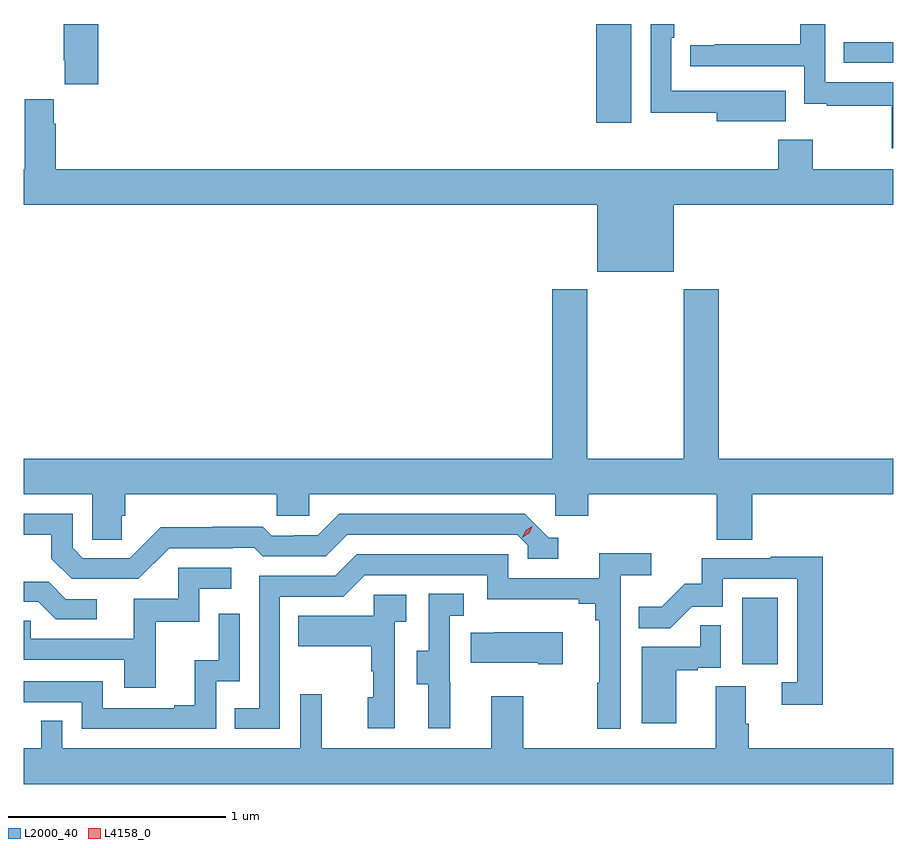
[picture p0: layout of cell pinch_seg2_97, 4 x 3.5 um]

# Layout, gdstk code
import gdstk
lib = gdstk.Library(unit=1e-6, precision=1e-09)
def R(c, l, rs):  # rectangles x0, y0, x1, y1
    for r in rs: c.add(gdstk.rectangle(r[:2], r[2:], *l))
def P(c, l, *ps):  # polygons
    for p in ps: c.add(gdstk.Polygon(p, *l))
L2000_40 = (2000, 40)
L4158_0 = (4158, 0)

pinch_seg2_97 = lib.new_cell('pinch_seg2_97')
R(pinch_seg2_97, L2000_40, [(1026.056,638.862,1026.22,639.169), (1025.384,641.352,1025.545,641.807), (1026.523,641.628,1026.751,641.724)])
P(pinch_seg2_97, L2000_40, [(1026.257,641.5),(1026.043,641.5),(1026.043,641.499),(1025.73,641.499),(1025.73,641.744),(1025.744,641.744),(1025.744,641.807),(1025.634,641.807),(1025.634,641.398),(1025.939,641.398),(1025.939,641.36),(1026.257,641.36)],
  [(1023.095,641.807),(1022.935,641.807),(1022.935,641.641),(1022.941,641.641),(1022.941,641.529),(1023.095,641.529)],
  [(1026.751,641.538),(1026.438,641.538),(1026.438,641.807),(1026.322,641.807),(1026.322,641.714),(1025.929,641.714),(1025.929,641.709),(1025.817,641.709),(1025.817,641.613),(1026.342,641.613),(1026.342,641.441),(1026.445,641.441),(1026.445,641.43),(1026.744,641.43),(1026.744,641.235),(1026.751,641.235)],
  [(1025.74,640.976),(1026.751,640.976),(1026.751,641.14),(1026.381,641.14),(1026.381,641.275),(1026.221,641.275),(1026.221,641.14),(1022.9,641.14),(1022.9,641.348),(1022.89,641.348),(1022.89,641.461),(1022.756,641.461),(1022.756,641.14),(1022.751,641.14),(1022.751,640.976),(1025.39,640.976),(1025.39,640.667),(1025.74,640.667)],
  [(1023.203,639.546),(1023.218,639.546),(1023.218,639.644),(1023.915,639.644),(1023.915,639.546),(1024.065,639.546),(1024.065,639.644),(1025.196,639.644),(1025.196,639.546),(1025.348,639.546),(1025.348,639.644),(1025.939,639.644),(1025.939,639.436),(1026.103,639.436),(1026.103,639.644),(1026.751,639.644),(1026.751,639.808),(1025.948,639.808),(1025.948,640.588),(1025.788,640.588),(1025.788,639.808),(1025.343,639.808),(1025.343,640.588),(1025.183,640.588),(1025.183,639.808),(1022.751,639.808),(1022.751,639.644),(1023.066,639.644),(1023.066,639.436),(1023.203,639.436)],
  [(1023.42,639.396),(1023.713,639.396),(1023.713,639.399),(1023.812,639.399),(1023.851,639.36),(1024.14,639.36),(1024.239,639.459),(1025.022,639.459),(1025.07,639.411),(1025.07,639.348),(1025.209,639.348),(1025.209,639.444),(1025.166,639.444),(1025.055,639.555),(1024.202,639.555),(1024.103,639.456),(1023.996,639.456),(1023.996,639.453),(1023.893,639.453),(1023.851,639.496),(1023.618,639.496),(1023.618,639.493),(1023.382,639.493),(1023.24,639.351),(1023.024,639.351),(1022.976,639.399),(1022.976,639.555),(1022.751,639.555),(1022.751,639.459),(1022.879,639.459),(1022.879,639.349),(1022.973,639.255),(1023.279,639.255)],
  [(1023.93,639.174),(1024.221,639.174),(1024.32,639.273),(1024.884,639.273),(1024.884,639.161),(1025.303,639.161),(1025.303,639.142),(1025.38,639.142),(1025.38,639.065),(1025.399,639.065),(1025.399,638.777),(1025.388,638.777),(1025.388,638.565),(1025.496,638.565),(1025.496,639.272),(1025.638,639.272),(1025.638,639.374),(1025.399,639.374),(1025.399,639.258),(1024.98,639.258),(1024.98,639.369),(1024.283,639.369),(1024.184,639.27),(1023.834,639.27),(1023.834,638.661),(1023.721,638.661),(1023.721,638.565),(1023.93,638.565)],
  [(1026.425,639.356),(1026.187,639.356),(1026.187,639.351),(1025.869,639.351),(1025.869,639.234),(1025.792,639.234),(1025.685,639.127),(1025.581,639.127),(1025.581,639.028),(1025.725,639.028),(1025.823,639.126),(1025.967,639.126),(1025.967,639.255),(1026.309,639.255),(1026.309,638.781),(1026.237,638.781),(1026.237,638.676),(1026.425,638.676)],
  [(1023.359,639.057),(1023.558,639.057),(1023.558,639.21),(1023.706,639.21),(1023.706,639.306),(1023.462,639.306),(1023.462,639.165),(1023.257,639.165),(1023.257,638.979),(1022.783,638.979),(1022.783,639.063),(1022.751,639.063),(1022.751,638.883),(1023.215,638.883),(1023.215,638.754),(1023.359,638.754)],
  [(1023.088,639.162),(1022.946,639.162),(1022.866,639.242),(1022.751,639.242),(1022.751,639.15),(1022.819,639.15),(1022.9,639.069),(1023.088,639.069)],
  [(1024.712,638.781),(1024.71,638.781),(1024.71,639.085),(1024.774,639.085),(1024.774,639.188),(1024.614,639.188),(1024.614,638.925),(1024.559,638.925),(1024.559,638.77),(1024.613,638.77),(1024.613,638.568),(1024.712,638.568)],
  [(1024.458,639.059),(1024.51,639.059),(1024.51,639.183),(1024.362,639.183),(1024.362,639.085),(1024.015,639.085),(1024.015,638.945),(1024.35,638.945),(1024.35,638.831),(1024.36,638.831),(1024.36,638.712),(1024.334,638.712),(1024.334,638.568),(1024.458,638.568)],
  [(1023.636,638.784),(1023.744,638.784),(1023.744,639.094),(1023.648,639.094),(1023.648,638.882),(1023.539,638.882),(1023.539,638.674),(1023.443,638.674),(1023.443,638.661),(1023.114,638.661),(1023.114,638.784),(1022.751,638.784),(1022.751,638.688),(1023.018,638.688),(1023.018,638.565),(1023.636,638.565)],
  [(1025.752,638.835),(1025.852,638.835),(1025.852,638.847),(1025.958,638.847),(1025.958,639.041),(1025.863,639.041),(1025.863,638.943),(1025.594,638.943),(1025.594,638.592),(1025.752,638.592)],
  [(1025.23,639.01),(1024.915,639.01),(1024.915,639.007),(1024.807,639.007),(1024.807,638.87),(1025.117,638.87),(1025.117,638.863),(1025.23,638.863)],
  [(1026.751,638.476),(1026.086,638.476),(1026.086,638.588),(1026.073,638.588),(1026.073,638.762),(1025.933,638.762),(1025.933,638.476),(1025.049,638.476),(1025.049,638.716),(1024.901,638.716),(1024.901,638.476),(1024.121,638.476),(1024.121,638.725),(1024.023,638.725),(1024.023,638.476),(1022.928,638.476),(1022.928,638.603),(1022.832,638.603),(1022.832,638.476),(1022.751,638.476),(1022.751,638.312),(1026.751,638.312)])
P(pinch_seg2_97, L4158_0, [(1025.045,639.446),(1025.045,639.446),(1025.061,639.478),(1025.091,639.498),(1025.091,639.498),(1025.091,639.498),(1025.076,639.465),(1025.046,639.446)])

lib.write_gds('pinch_seg2_97.gds')
